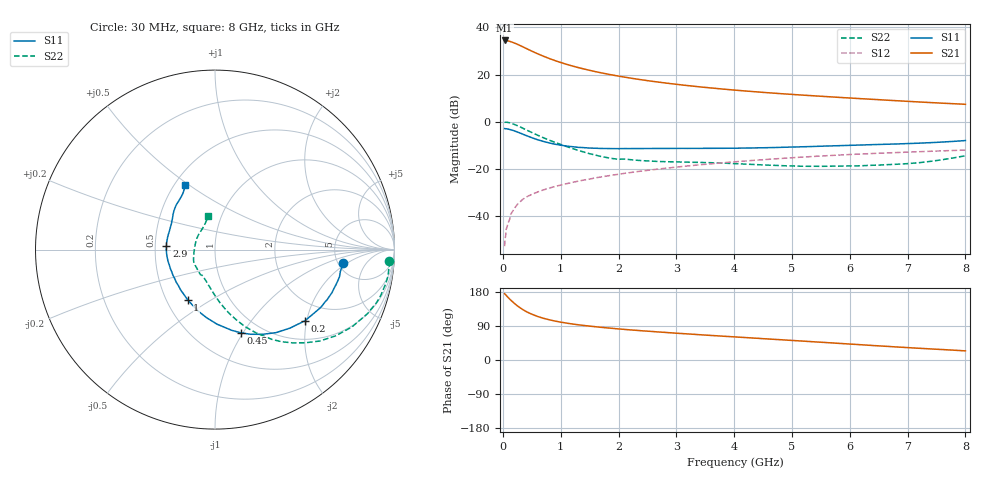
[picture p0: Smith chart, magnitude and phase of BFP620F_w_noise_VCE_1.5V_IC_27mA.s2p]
! Infineon Technologies  Discrete & RF Semiconductors
! BFP620F
! VCE =  1.5 V,  IC =  27 mA
! Common Emitter S-Parameters:  Dec 2014
# GHz  S  MA  R  50
!  f  S11  S21  S12  S22
! GHz  MAG  ANG  MAG  ANG  MAG  ANG  MAG  ANG
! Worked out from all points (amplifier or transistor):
!   95 points, 30 MHz to 8 GHz, reference 50 ohm
!   highest |S21| = 34.5 dB at 30 MHz (marker M1)
!   |S21| within 3 dB of that: start of sweep to 370.2 MHz
!   unconditionally stable (mu >= 1): 2.607 GHz to end of sweep
!   at 300 MHz: K = 0.34, MSG = 33.1 dB, |S12| = -33.9 dB
!   at 3.3 GHz: K = 1.02, MAG = 15.9 dB, |S12| = -18.5 dB
!   at 8 GHz: K = 1.06, MAG = 8.2 dB, |S12| = -12.0 dB
!   lowest NFmin = 1.05 dB at 450 MHz
!   S11 on the Smith chart (normalised r, x): 30 MHz: 5.47, -1.70; 200 MHz: 1.46, -1.95; 450 MHz: 0.81, -0.98; 1 GHz: 0.64, -0.40; 2.9 GHz: 0.57, +0.02; 8 GHz: 0.56, +0.48
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0.03  0.7151 -6.1  52.82 175.0  0.0023 88.1  0.9729 -3.7
0.06  0.71 -12.2  52.51 170.2  0.0055 83.9  0.975 -8.6
0.11  0.6892 -22.0  50.84 161.9  0.0082 82.9  0.9535 -16.7
0.15  0.6686 -29.4  49.18 156.1  0.0116 77.2  0.9223 -22.7
0.2  0.6392 -38.3  46.55 149.3  0.0145 73.9  0.8759 -29.5
0.25  0.6051 -46.3  43.89 143.0  0.0177 71.8  0.826 -35.6
0.3  0.5737 -53.8  41.16 137.5  0.0202 69.8  0.7747 -41.1
0.4  0.5112 -67.3  35.95 128.1  0.0251 65.7  0.6754 -50.3
0.45  0.4848 -72.9  33.56 124.3  0.027 65.0  0.6326 -54.2
0.5  0.4587 -78.4  31.39 120.9  0.0287 63.6  0.5915 -57.7
0.6  0.4154 -88.5  27.62 114.9  0.0324 63.1  0.5182 -63.7
0.7  0.3822 -97.1  24.53 110.2  0.0358 62.2  0.4585 -68.9
0.8  0.3563 -104.9  21.93 106.2  0.0391 62.3  0.4079 -73.2
1  0.3187 -118.5  18.03 99.9  0.0454 62.1  0.3295 -80.9
1.4  0.2822 -140.0  13.14 91.2  0.058 61.9  0.2278 -94.6
2  0.2687 -162.7  9.271 82.1  0.077 60.6  0.1601 -116.7
2.7  0.2713 179.9  6.893 73.9  0.0996 57.9  0.1435 -136.3
2.9  0.2716 175.8  6.422 71.8  0.1058 56.9  0.1413 -140.5
4.1  0.2756 156.0  4.584 60.1  0.144 50.5  0.1277 -159.1
5.4  0.2998 141.7  3.528 47.8  0.1845 42.0  0.1137 171.8
6.7  0.3347 128.3  2.837 35.5  0.2194 32.5  0.1236 137.9
8  0.3989 114.8  2.34 24.1  0.2505 23.4  0.1897 101.3
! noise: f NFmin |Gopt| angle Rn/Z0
0.45  1.05  0.02  -178  0.19
0.9  1.09  0.03  -171  0.15
1.5  1.1  0.05  -151  0.16
1.8  1.12  0.06  -148  0.17
1.9  1.12  0.07  -148  0.16
2.4  1.14  0.08  -147  0.16
3.5  1.21  0.11  -143  0.17
5.5  1.36  0.19  238  0.12
6  1.4  0.2  259  0.15
